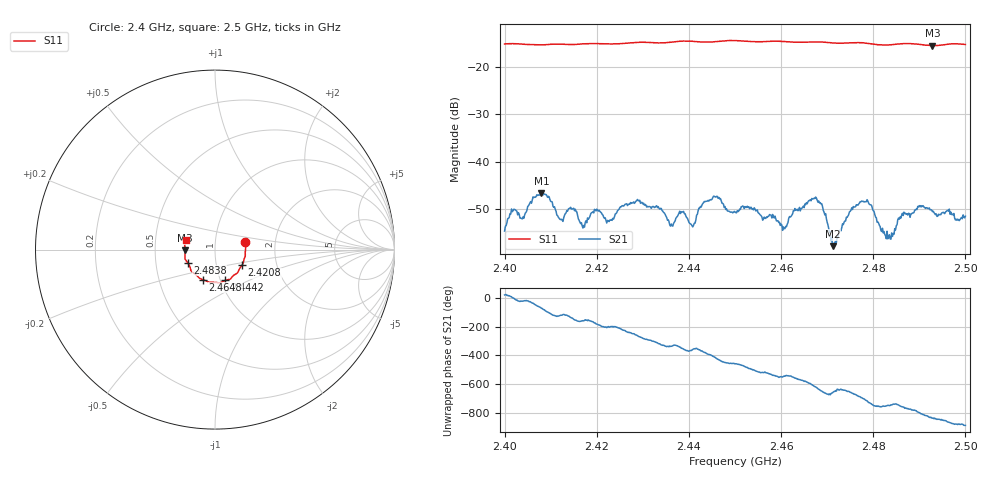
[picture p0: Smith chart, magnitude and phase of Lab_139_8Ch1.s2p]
# Hz S RI R 50
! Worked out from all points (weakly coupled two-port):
!   601 points, 2.4 GHz to 2.5 GHz, reference 50 ohm
!   highest |S21| = -46.57 dB at 2.408 GHz (marker M1); lowest = -57.7 dB at 2.4712 GHz (marker M2)
!   lowest |S11| = -15.6 dB at 2.4928 GHz (marker M3), VSWR 1.40, Z = 35.8 - j0.35 ohm
!   |S11| at or under -10 dB: start of sweep to end of sweep
!   S12 and S22 are empty: the file has one direction only
!   S11 on the Smith chart (normalised r, x): 2.4 GHz: 1.40, +0.12; 2.4208 GHz: 1.33, -0.24; 2.4442 GHz: 1.05, -0.37; 2.4648 GHz: 0.83, -0.29; 2.4838 GHz: 0.73, -0.11; 2.5 GHz: 0.72, +0.08
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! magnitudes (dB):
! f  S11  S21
! 2.4 GHz  -15.3  -54.6
! 2.408 GHz  -15.4  -46.6
! 2.4122 GHz  -15.3  -52.1
! 2.4145 GHz  -15.4  -49.9
! 2.4167 GHz  -15.2  -52.8
! 2.4208 GHz  -15.2  -50.6
! 2.4333 GHz  -15.0  -49.4
! 2.4362 GHz  -14.9  -53.1
! 2.4408 GHz  -14.7  -53.7
! 2.4442 GHz  -14.9  -48.1
! 2.45 GHz  -14.5  -50.5
! 2.4607 GHz  -14.7  -54.0
! 2.4648 GHz  -14.9  -49.3
! 2.4667 GHz  -14.8  -47.7
! 2.4687 GHz  -14.8  -48.9
! 2.4712 GHz  -15.0  -57.7
! 2.4782 GHz  -15.0  -48.4
! 2.4833 GHz  -15.5  -55.9
! 2.4838 GHz  -15.4  -56.3
! 2.4867 GHz  -15.2  -50.6
! 2.4928 GHz  -15.6  -50.5
! 2.5 GHz  -15.4  -51.4
